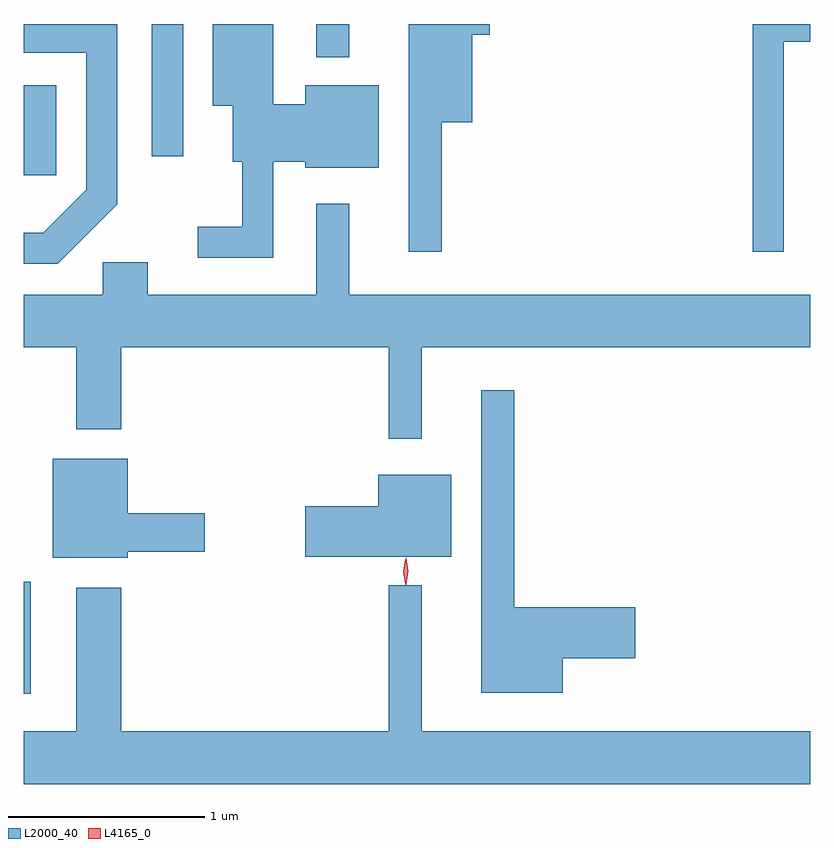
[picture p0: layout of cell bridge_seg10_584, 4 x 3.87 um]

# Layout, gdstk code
import gdstk
lib = gdstk.Library(unit=1e-6, precision=1e-09)
def R(c, l, rs):  # rectangles x0, y0, x1, y1
    for r in rs: c.add(gdstk.rectangle(r[:2], r[2:], *l))
def P(c, l, *ps):  # polygons
    for p in ps: c.add(gdstk.Polygon(p, *l))
L2000_40 = (2000, 40)
L4165_0 = (4165, 0)

bridge_seg10_584 = lib.new_cell('bridge_seg10_584')
R(bridge_seg10_584, L2000_40, [(658.234,2145.456,658.269,2146.024), (658.234,2148.091,658.399,2148.549), (658.886,2148.188,659.044,2148.861), (659.721,2148.693,659.889,2148.861)])
P(bridge_seg10_584, L2000_40, [(662.099,2148.771),(662.234,2148.771),(662.234,2148.861),(661.941,2148.861),(661.941,2147.703),(662.099,2147.703)],
  [(659.504,2148.161),(659.666,2148.161),(659.666,2148.131),(660.039,2148.131),(660.039,2148.549),(659.666,2148.549),(659.666,2148.454),(659.504,2148.454),(659.504,2148.861),(659.196,2148.861),(659.196,2148.446),(659.296,2148.446),(659.296,2148.161),(659.346,2148.161),(659.346,2147.829),(659.118,2147.829),(659.118,2147.671),(659.504,2147.671)],
  [(660.359,2148.361),(660.514,2148.361),(660.514,2148.806),(660.604,2148.806),(660.604,2148.861),(660.191,2148.861),(660.191,2147.703),(660.359,2147.703)],
  [(658.709,2147.944),(658.709,2148.861),(658.234,2148.861),(658.234,2148.716),(658.551,2148.716),(658.551,2148.017),(658.334,2147.799),(658.234,2147.799),(658.234,2147.641),(658.407,2147.641)],
  [(660.259,2147.216),(662.234,2147.216),(662.234,2147.484),(659.889,2147.484),(659.889,2147.948),(659.721,2147.948),(659.721,2147.484),(658.864,2147.484),(658.864,2147.649),(658.636,2147.649),(658.636,2147.484),(658.234,2147.484),(658.234,2147.216),(658.501,2147.216),(658.501,2146.801),(658.729,2146.801),(658.729,2147.216),(660.091,2147.216),(660.091,2146.753),(660.259,2146.753)],
  [(660.974,2145.636),(661.344,2145.636),(661.344,2145.894),(660.729,2145.894),(660.729,2146.998),(660.561,2146.998),(660.561,2145.461),(660.974,2145.461)],
  [(658.764,2146.176),(659.154,2146.176),(659.154,2146.374),(658.764,2146.374),(658.764,2146.649),(658.381,2146.649),(658.381,2146.146),(658.764,2146.146)],
  [(660.409,2146.569),(660.036,2146.569),(660.036,2146.409),(659.666,2146.409),(659.666,2146.151),(660.409,2146.151)],
  [(662.234,2145.264),(660.259,2145.264),(660.259,2146.008),(660.091,2146.008),(660.091,2145.264),(658.729,2145.264),(658.729,2145.994),(658.501,2145.994),(658.501,2145.264),(658.234,2145.264),(658.234,2144.996),(662.234,2144.996)])
P(bridge_seg10_584, L4165_0, [(660.175,2146.013),(660.174,2146.014),(660.165,2146.076),(660.174,2146.14),(660.175,2146.14),(660.176,2146.14),(660.185,2146.076),(660.176,2146.014)],
  [(660.178,2146.01),(660.178,2146.01),(660.169,2146.078),(660.179,2146.146),(660.18,2146.146),(660.18,2146.146),(660.189,2146.078),(660.179,2146.01)])

lib.write_gds('bridge_seg10_584.gds')
